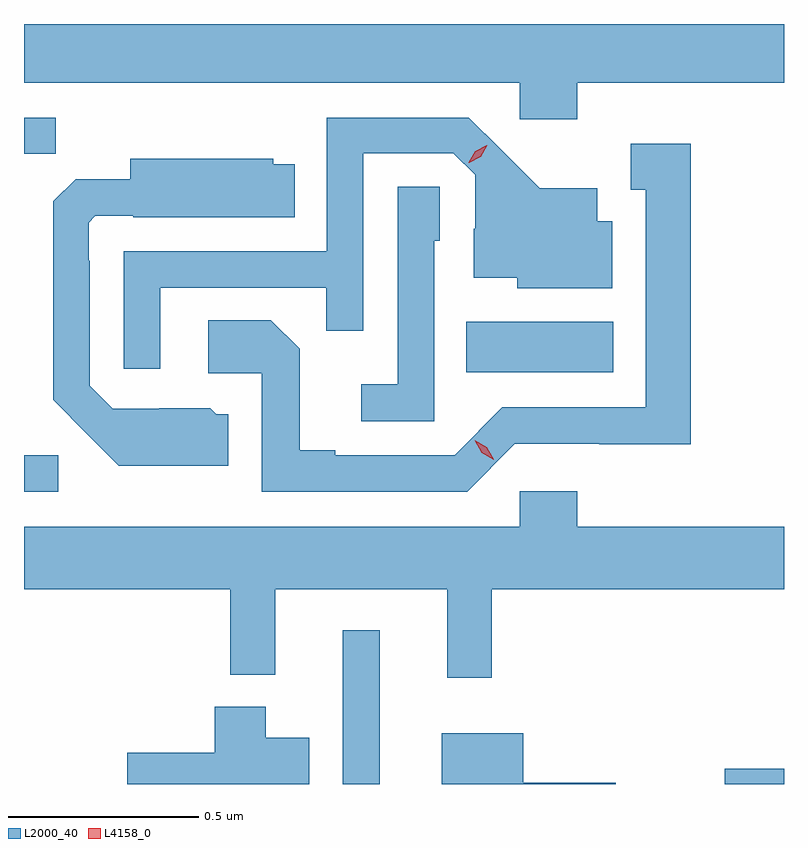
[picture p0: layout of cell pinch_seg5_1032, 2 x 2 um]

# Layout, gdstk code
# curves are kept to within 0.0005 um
import gdstk
lib = gdstk.Library(unit=1e-6, precision=1e-09)
def R(c, l, rs):  # rectangles x0, y0, x1, y1
    for r in rs: c.add(gdstk.rectangle(r[:2], r[2:], *l))
def P(c, l, *ps):  # polygons
    for p in ps: c.add(gdstk.Polygon(p, *l))
L2000_40 = (2000, 40)
L4158_0 = (4158, 0)

pinch_seg5_1032 = lib.new_cell('pinch_seg5_1032')
R(pinch_seg5_1032, L2000_40, [(721.791,840.263,721.888,840.667), (722.796,840.263,722.952,840.303), (720.952,841.032,721.042,841.128), (722.116,841.346,722.503,841.48), (720.952,841.921,721.035,842.016)])
P(pinch_seg5_1032, L2000_40, [(722.408,842.108),(722.952,842.108),(722.952,842.263),(720.952,842.263),(720.952,842.108),(722.256,842.108),(722.256,842.013),(722.408,842.013)],
  [(721.311,841.569),(721.747,841.569),(721.747,841.456),(721.845,841.456),(721.845,841.923),(722.082,841.923),(722.139,841.866),(722.139,841.724),(722.135,841.724),(722.135,841.595),(722.25,841.595),(722.25,841.568),(722.5,841.568),(722.5,841.744),(722.461,841.744),(722.461,841.831),(722.309,841.831),(722.122,842.016),(721.749,842.016),(721.749,841.665),(721.215,841.665),(721.215,841.356),(721.311,841.356)],
  [(722.244,841.158),(722.466,841.158),(722.466,841.157),(722.707,841.157),(722.707,841.948),(722.549,841.948),(722.549,841.827),(722.588,841.827),(722.588,841.254),(722.211,841.254),(722.085,841.128),(721.771,841.128),(721.771,841.141),(721.677,841.141),(721.677,841.408),(721.601,841.484),(721.437,841.484),(721.437,841.344),(721.578,841.344),(721.578,841.032),(722.118,841.032)],
  [(721.489,841.236),(721.458,841.236),(721.442,841.252),(721.308,841.252),(721.308,841.251),(721.185,841.251),(721.125,841.311),(721.125,841.64),(721.122,841.64),(721.122,841.74),(721.14,841.758),(721.24,841.758),(721.24,841.754),(721.664,841.754),(721.664,841.894),(721.608,841.894),(721.608,841.909),(721.232,841.909),(721.232,841.855),(721.088,841.855),(721.029,841.796),(721.029,841.274),(721.201,841.1),(721.489,841.1)],
  [(722.031,841.692),(722.046,841.692),(722.046,841.835),(721.935,841.835),(721.935,841.315),(721.839,841.315),(721.839,841.218),(722.031,841.218)],
  [(722.183,840.776),(722.952,840.776),(722.952,840.94),(722.408,840.94),(722.408,841.033),(722.256,841.033),(722.256,840.94),(720.952,840.94),(720.952,840.776),(721.495,840.776),(721.495,840.551),(721.613,840.551),(721.613,840.776),(722.066,840.776),(722.066,840.543),(722.183,840.543)],
  [(721.702,840.385),(721.588,840.385),(721.588,840.466),(721.454,840.466),(721.454,840.345),(721.224,840.345),(721.224,840.263),(721.702,840.263)],
  [(722.509,840.266),(722.266,840.266),(722.266,840.397),(722.051,840.397),(722.051,840.263),(722.509,840.263)])
P(pinch_seg5_1032, L4158_0, [(722.188,841.116),(722.156,841.135),(722.138,841.168),(722.138,841.168),(722.138,841.168),(722.17,841.149),(722.188,841.117),(722.188,841.116)],
  [(722.123,841.898),(722.123,841.899),(722.14,841.928),(722.17,841.944),(722.171,841.944),(722.171,841.944),(722.154,841.914),(722.124,841.898)])

lib.write_gds('pinch_seg5_1032.gds')
